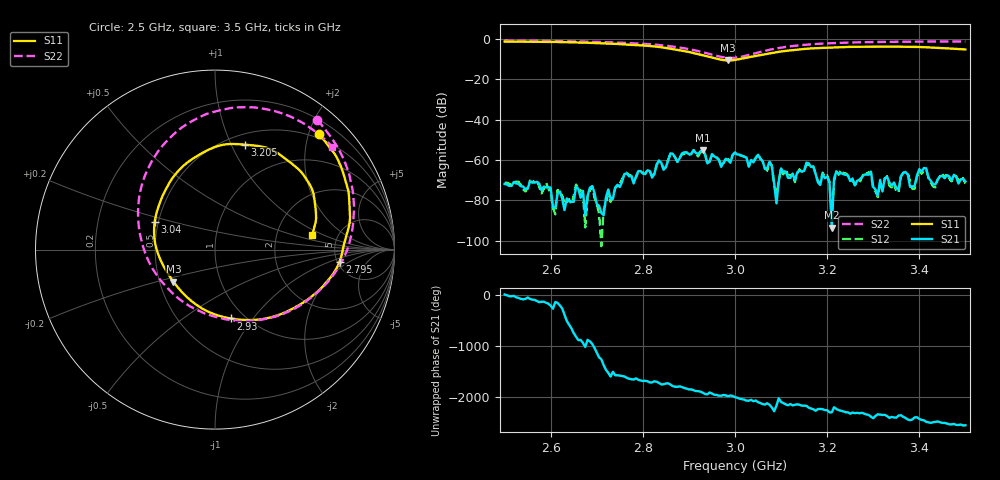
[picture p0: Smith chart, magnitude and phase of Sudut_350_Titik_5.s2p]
# Hz S RI R 50
! CMT, C1220, 16058040, 17.2.0/1
! Date: 15/08/2018 10:28:28
! Data: Format (Calibration Info)
! Freq  S11: Re/Im (F2)  S21: Re/Im (F2)  S12: Re/Im (F2)  S22: Re/Im (F2)
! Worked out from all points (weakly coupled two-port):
!   201 points, 2.5 GHz to 3.5 GHz, reference 50 ohm
!   highest |S21| = -55.11 dB at 2.93 GHz (marker M1); lowest = -93.7 dB at 3.21 GHz (marker M2)
!   lowest |S11| = -10.7 dB at 2.985 GHz (marker M3), VSWR 1.83, Z = 29.5 - j11.5 ohm
!   |S11| at or under -10 dB: 2.964 GHz to 3.009 GHz (44.92 MHz wide, 1.5 % of centre)
!   |S22| runs from -9.4 to -0.7 dB; largest |S21 - S12| = 0.00017
!   S11 on the Smith chart (normalised r, x): 2.5 GHz: 0.43, +2.18; 2.795 GHz: 5.24, -1.36; 2.93 GHz: 0.86, -0.78; 3.04 GHz: 0.48, +0.17; 3.205 GHz: 0.61, +1.13; 3.5 GHz: 3.23, +0.77
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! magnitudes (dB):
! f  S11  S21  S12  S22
! 2.5 GHz  -1.3  -72.0  -71.3  -0.7
! 2.67 GHz  -1.8  -75.3  -77.2  -1.3
! 2.735 GHz  -2.3  -79.4  -77.9  -1.7
! 2.795 GHz  -3.1  -65.5  -66.4  -2.3
! 2.835 GHz  -3.9  -60.3  -60.9  -3.0
! 2.93 GHz  -8.1  -55.1  -55.7  -6.6
! 2.985 GHz  -10.7  -60.2  -59.7  -9.3
! 3 GHz  -10.4  -56.4  -56.3  -9.3
! 3.04 GHz  -8.6  -61.2  -60.7  -7.4
! 3.075 GHz  -7.1  -60.9  -61.2  -5.4
! 3.09 GHz  -6.5  -81.6  -77.0  -4.7
! 3.1 GHz  -6.2  -64.3  -64.1  -4.3
! 3.17 GHz  -4.6  -63.2  -63.2  -2.6
! 3.205 GHz  -4.3  -70.7  -71.2  -2.1
! 3.21 GHz  -4.3  -93.7  -88.2  -2.1
! 3.23 GHz  -4.1  -66.6  -64.9  -1.9
! 3.295 GHz  -3.9  -65.8  -66.6  -1.5
! 3.31 GHz  -3.8  -77.7  -78.5  -1.5
! 3.335 GHz  -3.8  -71.2  -72.9  -1.4
! 3.39 GHz  -3.9  -72.7  -74.3  -1.3
! 3.4 GHz  -4.0  -64.7  -64.8  -1.3
! 3.5 GHz  -5.2  -70.6  -71.7  -1.2
